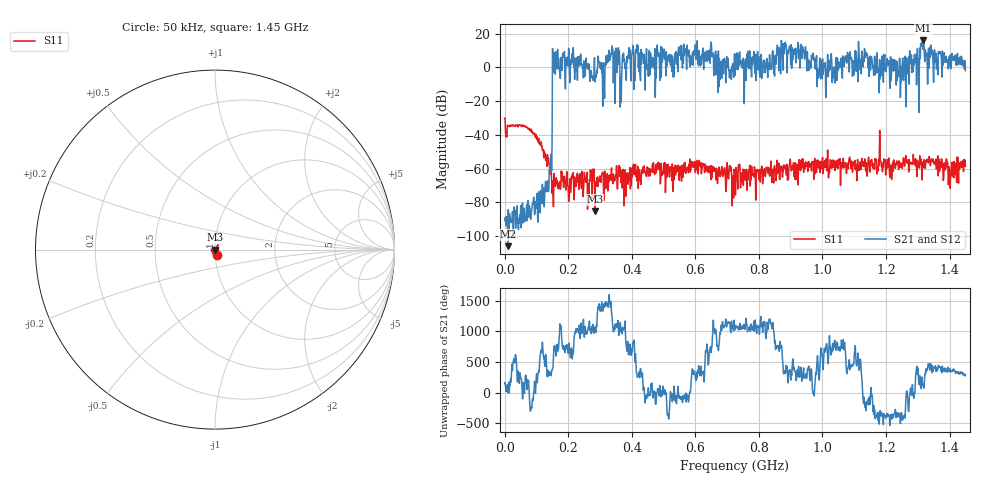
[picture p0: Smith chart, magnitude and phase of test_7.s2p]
! Created with skrf 1.11.0 (http://scikit-rf.org).
# Hz S RI R 50.0
!freq ReS11 ImS11 ReS21 ImS21 ReS12 ImS12 ReS22 ImS22
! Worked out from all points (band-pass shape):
!   1001 points, 50 kHz to 1.45 GHz, reference 50 ohm
!   highest |S21| = 16.01 dB at 1.318 GHz (marker M1); lowest = -106.0 dB at 10.2 MHz (marker M2)
!   |S21| within 3 dB of the highest: 869.8046 MHz to 873.0097 MHz (3.205 MHz wide, 0.368 % of centre); 881.9423 MHz to 886.2029 MHz (4.261 MHz wide, 0.482 % of centre) (the widest 2 of 24)
!   lowest |S11| = -85.3 dB at 284.2 MHz (marker M3), VSWR 1.00, Z = 50 - j0.0054 ohm
!   |S11| at or under -10 dB: start of sweep to end of sweep
!   |S22| runs from - to - dB; largest |S21 - S12| = 0
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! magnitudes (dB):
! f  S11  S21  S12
! 50 kHz  -30.1  -90.9  -90.9
! 10.2 MHz  -34.7  -106.0  -106.0
! 63.85 MHz  -34.7  -91.4  -91.4
! 118.9 MHz  -49.3  -69.3  -69.3
! 142.1 MHz  -62.9  -62.1  -62.1
! 158.1 MHz  -67.1  -0.3  -0.3
! 242.2 MHz  -71.9  2.3  2.3
! 284.2 MHz  -85.3  -8.6  -8.6
! 313.2 MHz  -67.0  -11.8  -11.8
! 333.5 MHz  -66.7  6.4  6.4
! 361.1 MHz  -64.5  9.8  9.8
! 484.3 MHz  -60.5  8.2  8.2
! 725 MHz  -64.3  -4.7  -4.7
! 833.8 MHz  -64.5  7.5  7.5
! 877.3 MHz  -61.3  14.0  14.0
! 967.2 MHz  -55.9  5.1  5.1
! 990.4 MHz  -55.7  -2.1  -2.1
! 1.085 GHz  -53.7  -2.7  -2.7
! 1.209 GHz  -53.7  1.9  1.9
! 1.256 GHz  -53.6  -7.6  -7.6
! 1.318 GHz  -59.3  16.0  16.0
! 1.45 GHz  -58.6  -1.8  -1.8
